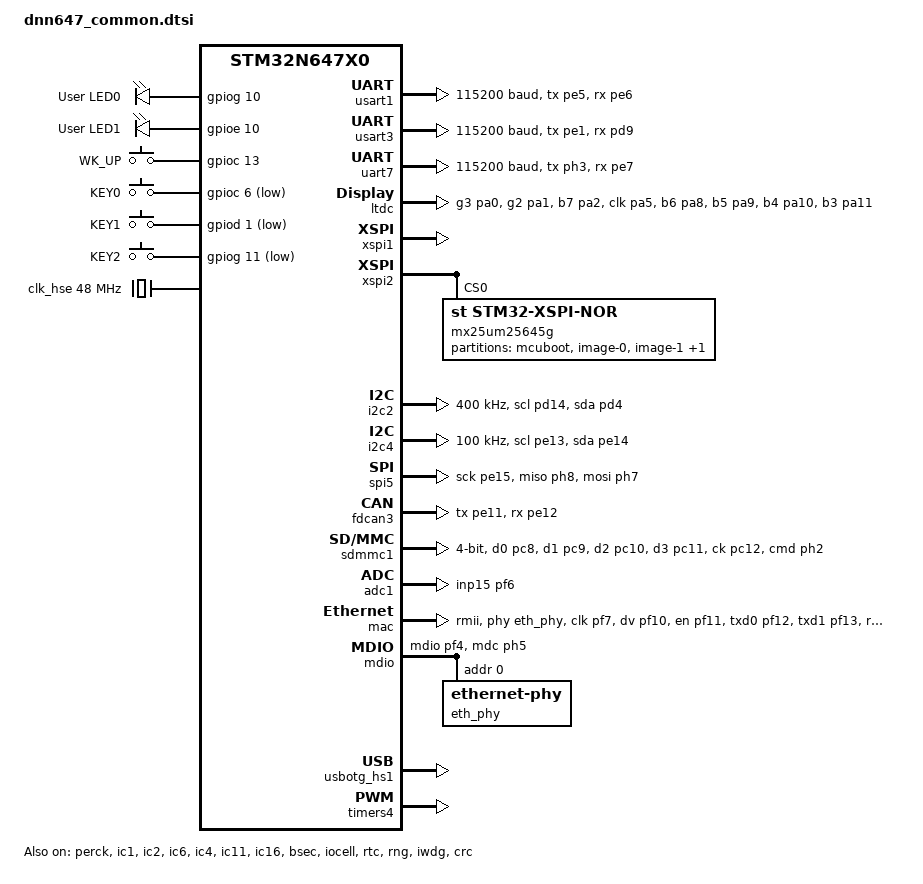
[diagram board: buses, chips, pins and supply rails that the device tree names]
/*
 * Copyright (c) 2026 The Zephyr Project Contributors
 *
 * SPDX-License-Identifier: Apache-2.0
 */

#include <st/n6/stm32n647X0.dtsi>
#include <st/n6/stm32n647x0hxq-pinctrl.dtsi>
#include <zephyr/dt-bindings/flash_controller/xspi.h>
#include <zephyr/dt-bindings/input/input-event-codes.h>
#include <zephyr/dt-bindings/display/panel.h>

/ {
	chosen {
		zephyr,console = &usart1;
		zephyr,shell-uart = &usart1;
		zephyr,sram = &axisram2;
		zephyr,display = &ltdc;
		zephyr,canbus = &fdcan3;
		spi-flash0 = &mx25um25645g;
		zephyr,flash-controller = &mx25um25645g;
		zephyr,flash = &ext_flash;
		zephyr,code-partition = &slot0_partition;
	};

	leds {
		compatible = "gpio-leds";

		led0: led_0 {
			gpios = <&gpiog 10 GPIO_ACTIVE_HIGH>;
			label = "User LED0";
		};

		led1: led_1 {
			gpios = <&gpioe 10 GPIO_ACTIVE_HIGH>;
			label = "User LED1";
		};
	};

	gpio_keys {
		compatible = "gpio-keys";

		wk_up: wk_up {
			label = "WK_UP";
			gpios = <&gpioc 13 (GPIO_ACTIVE_HIGH | GPIO_PULL_DOWN)>;
			zephyr,code = <INPUT_KEY_0>;
		};

		key0: key_0 {
			label = "KEY0";
			gpios = <&gpioc 6 (GPIO_ACTIVE_LOW | GPIO_PULL_UP)>;
			zephyr,code = <INPUT_KEY_1>;
		};

		key1: key_1 {
			label = "KEY1";
			gpios = <&gpiod 1 (GPIO_ACTIVE_LOW | GPIO_PULL_UP)>;
			zephyr,code = <INPUT_KEY_2>;
		};

		key2: key_2 {
			label = "KEY2";
			gpios = <&gpiog 11 (GPIO_ACTIVE_LOW | GPIO_PULL_UP)>;
			zephyr,code = <INPUT_KEY_3>;
		};
	};

	aliases {
		led0 = &led0;
		led1 = &led1;
		sw0 = &wk_up;
		sw1 = &key0;
		sw2 = &key1;
		sw3 = &key2;
		watchdog0 = &iwdg;
		rtc = &rtc;
	};

	hyperram: memory@90000000 {
		compatible = "zephyr,memory-region";
		/*
		 * Prevent access to the last 32 bytes of the memory-mapped device.
		 * Issue described in the STM32N6xxxx errata sheet ES0620 Rev 1:
		 * 2.4.5 Deadlock or data corruption when DQS is enabled and the
		 * wrap request includes the last address of the memory
		 */
		reg = <0x90000000 (DT_SIZE_M(32) - 32)>;
		zephyr,memory-region = "HYPERRAM";
		zephyr,memory-attr = <DT_MEM_ARM(ATTR_MPU_RAM)>;
	};
};

&clk_hse {
	hse-div2;
	clock-frequency = <DT_FREQ_M(48)>;
	status = "okay";
};

&clk_hsi {
	hsi-div = <1>;
	status = "okay";
};

&clk_lse {
	status = "okay";
};

&perck {
	clocks = <&rcc STM32_SRC_HSI PER_SEL(0)>;
	status = "okay";
};

&pll1 {
	clocks = <&clk_hse>;
	div-m = <3>;
	mul-n = <150>;
	div-p1 = <1>;
	div-p2 = <1>;
	status = "okay";
};

/* PLL2: HSI(64 MHz) / 2 * 48 = 1536 MHz VCO — used for IC4 */
&pll2 {
	clocks = <&clk_hsi>;
	div-m = <2>;
	mul-n = <48>;
	div-p1 = <1>;
	div-p2 = <1>;
	status = "okay";
};

&ic1 {
	pll-src = <1>;
	ic-div = <3>;
	status = "okay";
};

&ic2 {
	pll-src = <1>;
	ic-div = <6>;
	status = "okay";
};

&ic6 {
	pll-src = <1>;
	ic-div = <2>;
	status = "okay";
};

/* IC4: PLL2 / 32 = 48 MHz — SDMMC kernel clock */
&ic4 {
	pll-src = <2>;
	ic-div = <32>;
	status = "okay";
};

&ic11 {
	pll-src = <1>;
	ic-div = <3>;
	status = "okay";
};

/* LTDC pixel clock: PLL1 (2400 MHz) / 72 = 33.33 MHz (~60 Hz for 800x480) */
&ic16 {
	pll-src = <1>;
	ic-div = <72>;
	status = "okay";
};

&cpusw {
	clocks = <&rcc STM32_SRC_IC1 CPU_SEL(3)>;
	clock-frequency = <DT_FREQ_M(800)>;
	status = "okay";
};

&rcc {
	clocks = <&ic2>;
	clock-frequency = <DT_FREQ_M(400)>;
	ahb-prescaler = <2>;
	timg-prescaler = <2>;
};

&usart1 {
	clocks = <&rcc STM32_CLOCK(APB2, 4)>,
		 <&rcc STM32_SRC_CKPER USART1_SEL(1)>;
	pinctrl-0 = <&usart1_tx_pe5 &usart1_rx_pe6>;
	pinctrl-names = "default";
	current-speed = <115200>;
	dmas = <&gpdma1 0 108 (STM32_DMA_PERIPH_TX | STM32_DMA_PRIORITY_HIGH)>,
	       <&gpdma1 1 107 (STM32_DMA_PERIPH_RX | STM32_DMA_PRIORITY_HIGH)>;
	dma-names = "tx", "rx";
	status = "okay";
};

&usart3 {
	clocks = <&rcc STM32_CLOCK(APB1, 18)>,
		 <&rcc STM32_SRC_CKPER USART3_SEL(1)>;
	pinctrl-0 = <&usart3_tx_pe1 &usart3_rx_pd9>;
	pinctrl-names = "default";
	current-speed = <115200>;
	status = "okay";
};

&uart7 {
	clocks = <&rcc STM32_CLOCK(APB1, 30)>,
		 <&rcc STM32_SRC_CKPER UART7_SEL(1)>;
	pinctrl-0 = <&uart7_tx_ph3 &uart7_rx_pe7>;
	pinctrl-names = "default";
	current-speed = <115200>;
	status = "okay";
};

&gpdma1 {
	status = "okay";
};

&ltdc {
	clocks = <&rcc STM32_CLOCK(APB5, 1)>,
		 <&rcc STM32_SRC_IC16 LTDC_SEL(2)>;
	pinctrl-0 = <&ltdc_g3_pa0  &ltdc_g2_pa1  &ltdc_b7_pa2
		     &ltdc_clk_pa5  &ltdc_b6_pa8  &ltdc_b5_pa9
		     &ltdc_b4_pa10  &ltdc_b3_pa11 &ltdc_r5_pa15
		     &ltdc_r3_pb4   &ltdc_g7_pb10 &ltdc_g6_pb11
		     &ltdc_g5_pb12  &ltdc_g4_pb15
		     &ltdc_r6_pf8   &ltdc_hsync_pf9
		     &ltdc_vsync_pg0 &ltdc_r7_pg9  &ltdc_de_pg13
		     &ltdc_r4_ph4>;
	pinctrl-names = "default";
	bl-ctrl-gpios = <&gpioa 3 GPIO_ACTIVE_HIGH>;

	status = "okay";

	width = <800>;
	height = <480>;
	pixel-format = <PANEL_PIXEL_FORMAT_RGB_888>;

	display-timings {
		compatible = "zephyr,panel-timing";
		de-active = <0>;
		pixelclk-active = <0>;
		hsync-active = <0>;
		vsync-active = <0>;
		hsync-len = <1>;
		vsync-len = <1>;
		hback-porch = <46>;
		vback-porch = <23>;
		hfront-porch = <210>;
		vfront-porch = <22>;
	};

	def-back-color-red = <0x00>;
	def-back-color-green = <0x00>;
	def-back-color-blue = <0x00>;
};

&bsec {
	/* Required by iocell driver */
	status = "okay";
};

&iocell {
	status = "okay";

	vddio2 {
		hslv-mode = "on";
		compensation-enabled;
	};

	vddio3 {
		hslv-mode = "on";
		compensation-enabled;
	};
};

/*
 * XSPI1 — 32 MB HyperRAM (HyperBus x8 mode) mapped at 0x90000000.
 * Data bus: IO[0:7] = PP[0:7]; control: NCS1=PO0, DQS0=PO2,
 * CLK=PO4, NCLK=PO5.  IO[8:15]/DQS1 (PP[8:15]/PO3) are not
 * connected on this board (x8 mode only).
 */
&xspi1 {
	pinctrl-0 = <&xspim_p1_ncs1_po0 &xspim_p1_dqs0_po2
		     &xspim_p1_clk_po4 &xspim_p1_nclk_po5
		     &xspim_p1_io0_pp0 &xspim_p1_io1_pp1
		     &xspim_p1_io2_pp2 &xspim_p1_io3_pp3
		     &xspim_p1_io4_pp4 &xspim_p1_io5_pp5
		     &xspim_p1_io6_pp6 &xspim_p1_io7_pp7>;
	pinctrl-names = "default";
	status = "okay";

	/*
	 * W958D8NBYA5I (Winbond) 32 MB HyperBus x8 DDR DRAM.
	 * Latency settings are for operation at 200 MHz:
	 *   tACC = 7 cycles, tRWR = 7 cycles, fixed latency.
	 * st,refresh = 0: chip has built-in self-refresh; disable XSPI
	 * forced-refresh limit (tCSM is managed by the chip itself).
	 * Driver is off by default; enable CONFIG_MEMC_STM32_XSPI_HYPERRAM
	 * or set status = "okay" in a board-specific overlay.
	 */
	hyperram_dev: memory@0 {
		compatible = "st,stm32-xspi-hyperram";
		reg = <0>;
		size = <DT_SIZE_M(256)>; /* 256 Mbits = 32 MB */
		max-frequency = <DT_FREQ_M(200)>;
		rw-recovery-time-cycle = <7>;
		access-time-cycle = <7>;
		fixed-latency;
		st,refresh = <0>;
		status = "disabled";
	};
};

&xspi2 {
	pinctrl-0 = <&xspim_p2_ncs1_pn1 &xspim_p2_dqs0_pn0 &xspim_p2_clk_pn6
		     &xspim_p2_io0_pn2 &xspim_p2_io1_pn3 &xspim_p2_io2_pn4
		     &xspim_p2_io3_pn5 &xspim_p2_io4_pn8 &xspim_p2_io5_pn9
		     &xspim_p2_io6_pn10 &xspim_p2_io7_pn11>;
	pinctrl-names = "default";
	status = "okay";

	mx25um25645g: ospi-nor-flash@0 {
		compatible = "st,stm32-xspi-nor";
		reg = <0>;
		size = <DT_SIZE_M(256)>; /* 256 Mbits = 32 MB */
		ospi-max-frequency = <DT_FREQ_M(100)>;
		spi-bus-width = <XSPI_OCTO_MODE>;
		data-rate = <XSPI_DTR_TRANSFER>;
		four-byte-opcodes;
		status = "okay";

		#address-cells = <1>;
		#size-cells = <1>;
		ranges = <0x0 0x70000000 DT_SIZE_M(32)>;

		ext_flash: ext-flash@0 {
			compatible = "soc-nv-flash";
			reg = <0x0 DT_SIZE_M(32)>;
			write-block-size = <1>;
			erase-block-size = <DT_SIZE_K(4)>;

			partitions {
				compatible = "fixed-partitions";
				#address-cells = <1>;
				#size-cells = <1>;

				boot_partition: partition@0 {
					label = "mcuboot";
					reg = <0x00000000 DT_SIZE_K(64)>;
				};

				slot0_partition: partition@10000 {
					label = "image-0";
					reg = <0x10000 DT_SIZE_K(1536)>;
				};

				slot1_partition: partition@210000 {
					label = "image-1";
					reg = <0x210000 DT_SIZE_K(1536)>;
				};

				storage_partition: partition@410000 {
					label = "storage";
					reg = <0x410000 DT_SIZE_K(64)>;
				};
			};
		};
	};
};

&i2c2 {
	clocks = <&rcc STM32_CLOCK(APB1, 22)>,
		 <&rcc STM32_SRC_CKPER I2C2_SEL(1)>;
	pinctrl-0 = <&i2c2_scl_pd14 &i2c2_sda_pd4>;
	pinctrl-names = "default";
	clock-frequency = <I2C_BITRATE_FAST>;
	status = "okay";

	/* Goodix GT911 capacitive touch — used when a GT911 LCD is connected.
	 * T_PEN (PB3) is the interrupt pin; RST is shared with LCD hardware reset.
	 */
	gt911: gt911@5d {
		compatible = "goodix,gt911";
		reg = <0x5d>;
		irq-gpios = <&gpiob 3 (GPIO_ACTIVE_HIGH | GPIO_PULL_DOWN)>;
		status = "disabled";
	};
};

&i2c4 {
	clocks = <&rcc STM32_CLOCK(APB4, 7)>,
		 <&rcc STM32_SRC_CKPER I2C4_SEL(1)>;
	pinctrl-0 = <&i2c4_scl_pe13 &i2c4_sda_pe14>;
	pinctrl-names = "default";
	clock-frequency = <I2C_BITRATE_STANDARD>;
	status = "okay";
};

&spi5 {
	clocks = <&rcc STM32_CLOCK(APB2, 20)>,
		 <&rcc STM32_SRC_CKPER SPI5_SEL(1)>;
	pinctrl-0 = <&spi5_sck_pe15 &spi5_miso_ph8 &spi5_mosi_ph7>;
	pinctrl-names = "default";
	status = "okay";
};

&fdcan3 {
	clocks = <&rcc STM32_CLOCK(APB1_2, 8)>,
		 <&rcc STM32_SRC_CKPER FDCAN_SEL(1)>;
	pinctrl-0 = <&fdcan3_tx_pe11 &fdcan3_rx_pe12>;
	pinctrl-names = "default";
	status = "okay";
};

&sdmmc1 {
	clocks = <&rcc STM32_CLOCK(AHB5, 8)>,
		 <&rcc STM32_SRC_IC4 SDMMC1_SEL(2)>;
	pinctrl-0 = <&sdmmc1_d0_pc8 &sdmmc1_d1_pc9
		     &sdmmc1_d2_pc10 &sdmmc1_d3_pc11
		     &sdmmc1_ck_pc12 &sdmmc1_cmd_ph2>;
	pinctrl-names = "default";
	bus-width = <4>;
	disk-name = "SD";
	status = "okay";
};

&adc1 {
	clocks = <&rcc STM32_CLOCK(AHB1, 5)>,
		 <&rcc STM32_SRC_CKPER ADC12_SEL(1)>;
	clock-names = "adcx", "adc_ker";
	pinctrl-0 = <&adc1_inp15_pf6>;
	pinctrl-names = "default";
	vref-mv = <1800>;
	status = "okay";
};

/*
 * Ethernet RMII — 50 MHz reference clock driven by the PHY on PF7.
 * The MAC address is read from the STM32N6 OTP bank via BSEC nvmem.
 * PHY reset (PF5, active-low) is driven by the board at power-on;
 * connect to phy-reset-gpios if the PHY driver supports it.
 */
&mac {
	pinctrl-0 = <&eth1_rmii_ref_clk_pf7
		     &eth1_rmii_crs_dv_pf10
		     &eth1_rmii_tx_en_pf11
		     &eth1_rmii_txd0_pf12
		     &eth1_rmii_txd1_pf13
		     &eth1_rmii_rxd0_pf14
		     &eth1_rmii_rxd1_pf15>;
	pinctrl-names = "default";
	phy-connection-type = "rmii";
	phy-handle = <&eth_phy>;
	nvmem-cells = <&mac_address0>;
	nvmem-cell-names = "mac-address";
	status = "okay";
};

&mdio {
	pinctrl-0 = <&eth1_mdio_pf4 &eth1_mdc_ph5>;
	pinctrl-names = "default";
	status = "okay";

	eth_phy: ethernet-phy@0 {
		compatible = "ethernet-phy";
		reg = <0x0>;
		status = "okay";
	};
};

zephyr_udc0: &usbotg_hs1 {
	status = "okay";
};

&rtc {
	clocks = <&rcc STM32_CLOCK(APB4, 16)>,
		 <&rcc STM32_SRC_LSE RTC_SEL(1)>;
	status = "okay";
};

&rng {
	status = "okay";
};

&iwdg {
	status = "okay";
};

&crc {
	status = "okay";
};

/*
 * SAI1 block A — transmitter (MCU → audio codec).
 * Clocked from CKPER (HSI, 64 MHz) via SAI1_SEL(1).
 * Pins: SCK=PC2, FS=PB0, SD=PB2, MCLK=PE2.
 */
&sai1_a {
	clocks = <&rcc STM32_CLOCK(APB2, 21)>,
		 <&rcc STM32_SRC_CKPER SAI1_SEL(1)>;
	pinctrl-0 = <&sai1_sck_a_pc2 &sai1_fs_a_pb0
		     &sai1_sd_a_pb2 &sai1_mclk_a_pe2>;
	pinctrl-names = "default";
	dmas = <&gpdma1 2 91 (STM32_DMA_MODE_NORMAL |
			      STM32_DMA_PRIORITY_HIGH |
			      STM32_DMA_16BITS)>;
	status = "disabled";
};

/*
 * SAI1 block B — receiver (audio codec → MCU), synchronous with block A.
 * Pin: SD_B=PE3.
 */
&sai1_b {
	clocks = <&rcc STM32_CLOCK(APB2, 21)>,
		 <&rcc STM32_SRC_CKPER SAI1_SEL(1)>;
	pinctrl-0 = <&sai1_sd_b_pe3>;
	pinctrl-names = "default";
	dmas = <&gpdma1 3 92 (STM32_DMA_MODE_NORMAL |
			      STM32_DMA_PRIORITY_HIGH |
			      STM32_DMA_16BITS)>;
	status = "disabled";
};

/* TIM4 CH4 on PF0 — PWM_DAC output through RC low-pass filter. */
&timers4 {
	st,prescaler = <9999>;
	status = "okay";

	pwm4: pwm {
		status = "okay";
		pinctrl-0 = <&tim4_ch4_pf0>;
		pinctrl-names = "default";
	};
};


